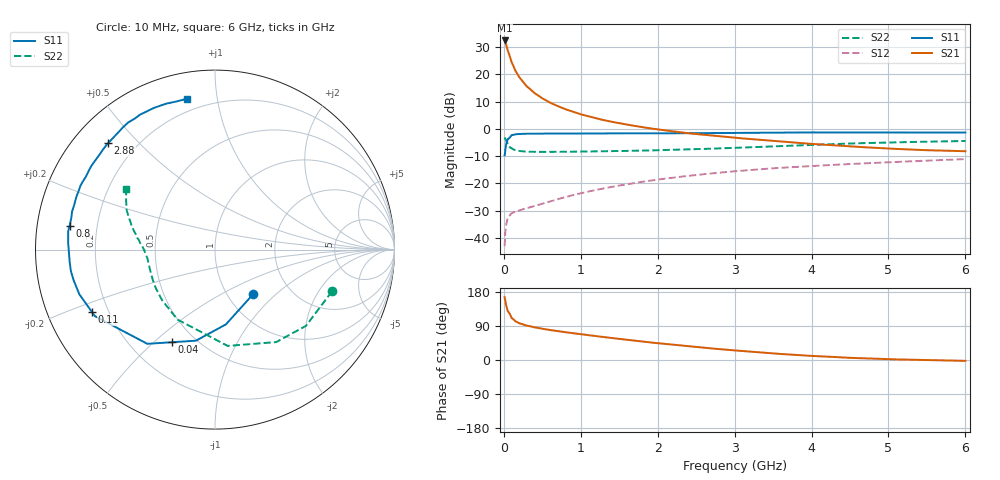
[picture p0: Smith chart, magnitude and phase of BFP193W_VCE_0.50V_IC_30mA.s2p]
! Infineon Technologies  Discrete & RF Semiconductors
! BFP193W
! VCE = 0.50V,  IC =  30 mA
! Common Emitter S-Parameters:  Jan 2016
# GHz  S  MA  R  50
!  f  S11  S21  S12  S22
! GHz  MAG  ANG  MAG  ANG  MAG  ANG  MAG  ANG
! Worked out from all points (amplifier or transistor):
!   210 points, 10 MHz to 6 GHz, reference 50 ohm
!   highest |S21| = 32.4 dB at 10 MHz (marker M1)
!   |S21| within 3 dB of that: start of sweep to 44.44 MHz
!   unconditionally stable (mu >= 1): 395.3 MHz to end of sweep
!   at 185 MHz: K = 0.59, MSG = 24.9 dB, |S12| = -30.0 dB
!   at 1.52 GHz: K = 1.43, MAG = 7.4 dB, |S12| = -20.7 dB
!   at 6 GHz: K = 1.22, MAG = -1.4 dB, |S12| = -11.1 dB
!   S11 on the Smith chart (normalised r, x): 10 MHz: 1.31, -0.73; 40 MHz: 0.37, -0.57; 110 MHz: 0.14, -0.23; 800 MHz: 0.10, +0.08; 2.88 GHz: 0.10, +0.41; 6 GHz: 0.13, +0.82
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0.01  0.3268 -49.3  41.53 165.8  0.0071 75.6  0.6921 -19.7
0.02  0.4212 -81.7  38.51 154.5  0.0134 64.1  0.6613 -40.0
0.03  0.5185 -101.8  34.99 144.3  0.0175 57.5  0.6179 -56.5
0.04  0.5699 -115.1  31.01 137.7  0.0203 50.1  0.5648 -68.6
0.05  0.6463 -125.7  27.56 129.3  0.0233 44.5  0.5412 -82.5
0.1  0.7649 -151.0  16.72 110.9  0.0284 32.8  0.4422 -118.2
0.11  0.7689 -153.2  15.67 109.6  0.0288 32.3  0.432 -121.6
0.15  0.7959 -161.8  11.6 102.0  0.0306 30.5  0.4079 -136.3
0.2  0.8058 -167.7  8.834 97.0  0.032 31.4  0.394 -146.5
0.26  0.8119 -172.1  6.903 92.9  0.0339 33.3  0.3857 -153.8
0.3  0.8125 -174.4  5.95 90.7  0.0353 35.0  0.3821 -157.5
0.4  0.814 -178.6  4.494 86.1  0.0386 39.0  0.3788 -163.1
0.5  0.8188 177.9  3.616 82.4  0.0425 43.1  0.3786 -166.6
0.6  0.8202 175.5  3.021 79.1  0.0468 46.2  0.3783 -169.4
0.8  0.8207 170.7  2.287 73.3  0.0563 50.4  0.3792 -172.7
1.02  0.8212 166.5  1.811 67.6  0.0671 52.9  0.3841 -175.2
2.02  0.8282 148.9  0.967 43.9  0.1187 53.2  0.4067 177.4
2.88  0.8404 135.1  0.712 27.4  0.1612 47.6  0.4425 170.5
3.1  0.843 131.8  0.668 23.7  0.1715 45.8  0.4536 168.5
4.1  0.8592 117.9  0.519 9.9  0.2127 37.6  0.5135 159.4
5.1  0.856 107.7  0.429 1.6  0.2474 30.2  0.5669 150.9
6  0.8549 100.4  0.389 -2.3  0.2791 24.2  0.5991 145.4
